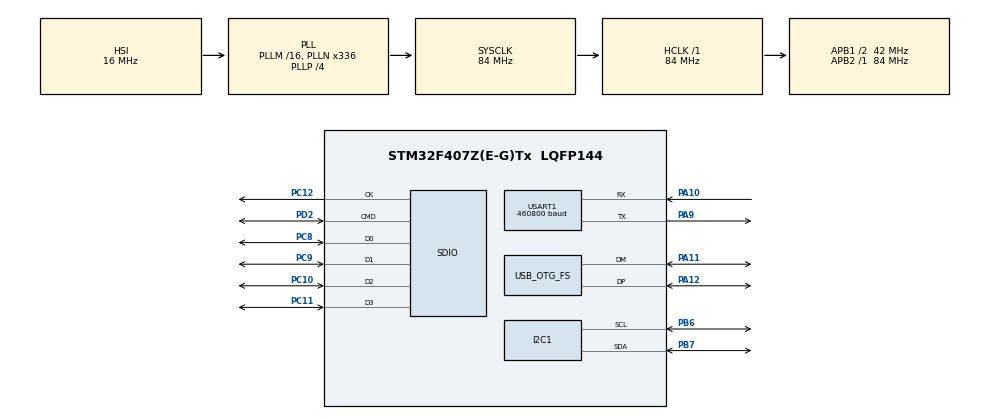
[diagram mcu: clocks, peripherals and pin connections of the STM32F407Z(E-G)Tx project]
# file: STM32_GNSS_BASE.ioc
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Dma.Request0=USART1_RX
Dma.Request1=SDIO_RX
Dma.Request2=SDIO_TX
Dma.SDIO_RX.1.Direction=DMA_PERIPH_TO_MEMORY
Dma.SDIO_RX.1.FIFOMode=DMA_FIFOMODE_ENABLE
Dma.SDIO_RX.1.FIFOThreshold=DMA_FIFO_THRESHOLD_FULL
Dma.SDIO_RX.1.Instance=DMA2_Stream3
Dma.SDIO_RX.1.MemBurst=DMA_MBURST_INC4
Dma.SDIO_RX.1.MemDataAlignment=DMA_MDATAALIGN_WORD
Dma.SDIO_RX.1.MemInc=DMA_MINC_ENABLE
Dma.SDIO_RX.1.Mode=DMA_PFCTRL
Dma.SDIO_RX.1.PeriphBurst=DMA_PBURST_INC4
Dma.SDIO_RX.1.PeriphDataAlignment=DMA_PDATAALIGN_WORD
Dma.SDIO_RX.1.PeriphInc=DMA_PINC_DISABLE
Dma.SDIO_RX.1.Priority=DMA_PRIORITY_MEDIUM
Dma.SDIO_TX.2.Direction=DMA_MEMORY_TO_PERIPH
Dma.SDIO_TX.2.FIFOMode=DMA_FIFOMODE_ENABLE
Dma.SDIO_TX.2.FIFOThreshold=DMA_FIFO_THRESHOLD_FULL
Dma.SDIO_TX.2.Instance=DMA2_Stream6
Dma.SDIO_TX.2.MemBurst=DMA_MBURST_INC4
Dma.SDIO_TX.2.MemDataAlignment=DMA_MDATAALIGN_WORD
Dma.SDIO_TX.2.MemInc=DMA_MINC_ENABLE
Dma.SDIO_TX.2.Mode=DMA_PFCTRL
Dma.SDIO_TX.2.PeriphBurst=DMA_PBURST_INC4
Dma.SDIO_TX.2.PeriphDataAlignment=DMA_PDATAALIGN_WORD
Dma.SDIO_TX.2.PeriphInc=DMA_PINC_DISABLE
Dma.SDIO_TX.2.Priority=DMA_PRIORITY_MEDIUM
Dma.USART1_RX.0.Direction=DMA_PERIPH_TO_MEMORY
Dma.USART1_RX.0.FIFOMode=DMA_FIFOMODE_DISABLE
Dma.USART1_RX.0.Instance=DMA2_Stream2
Dma.USART1_RX.0.MemDataAlignment=DMA_MDATAALIGN_BYTE
Dma.USART1_RX.0.MemInc=DMA_MINC_ENABLE
Dma.USART1_RX.0.Mode=DMA_CIRCULAR
Dma.USART1_RX.0.PeriphDataAlignment=DMA_PDATAALIGN_BYTE
Dma.USART1_RX.0.PeriphInc=DMA_PINC_DISABLE
Dma.USART1_RX.0.Priority=DMA_PRIORITY_VERY_HIGH
FATFS._FS_NORTC=1
Mcu.Family=STM32F4
Mcu.Name=STM32F407Z(E-G)Tx
Mcu.Package=LQFP144
NVIC.DMA2_Stream2_IRQn=true\:0\:0\:false\:false\:true\:false\:true\:true
NVIC.DMA2_Stream3_IRQn=true\:0\:0\:false\:false\:true\:false\:true\:true
NVIC.DMA2_Stream6_IRQn=true\:0\:0\:false\:false\:true\:false\:true\:true
NVIC.OTG_FS_IRQn=true\:0\:0\:false\:false\:true\:false\:true\:true
NVIC.PriorityGroup=NVIC_PRIORITYGROUP_4
NVIC.SDIO_IRQn=true\:0\:0\:false\:false\:true\:true\:true\:true
NVIC.USART1_IRQn=true\:0\:0\:false\:false\:true\:true\:true\:true
PA10.Mode=Asynchronous
PA10.Signal=USART1_RX
PA11.Mode=Device_Only
PA11.Signal=USB_OTG_FS_DM
PA12.Mode=Device_Only
PA12.Signal=USB_OTG_FS_DP
PA9.Mode=Asynchronous
PA9.Signal=USART1_TX
PB6.GPIO_Pu=GPIO_PULLUP
PB6.GPIO_Speed=GPIO_SPEED_FREQ_MEDIUM
PB6.Mode=I2C
PB6.Signal=I2C1_SCL
PB7.GPIO_Pu=GPIO_PULLUP
PB7.GPIO_Speed=GPIO_SPEED_FREQ_MEDIUM
PB7.Mode=I2C
PB7.Signal=I2C1_SDA
PC10.GPIO_PuPd=GPIO_PULLUP
PC10.GPIO_Speed_High_Default=GPIO_SPEED_FREQ_HIGH
PC10.Mode=SD_4_bits_Wide_bus
PC10.Signal=SDIO_D2
PC11.GPIO_PuPd=GPIO_PULLUP
PC11.GPIO_Speed_High_Default=GPIO_SPEED_FREQ_HIGH
PC11.Mode=SD_4_bits_Wide_bus
PC11.Signal=SDIO_D3
PC12.GPIO_Speed_High_Default=GPIO_SPEED_FREQ_HIGH
PC12.Mode=SD_4_bits_Wide_bus
PC12.Signal=SDIO_CK
PC8.GPIO_PuPd=GPIO_PULLUP
PC8.GPIO_Speed_High_Default=GPIO_SPEED_FREQ_HIGH
PC8.Mode=SD_4_bits_Wide_bus
PC8.Signal=SDIO_D0
PC9.GPIO_PuPd=GPIO_PULLUP
PC9.GPIO_Speed_High_Default=GPIO_SPEED_FREQ_HIGH
PC9.Mode=SD_4_bits_Wide_bus
PC9.Signal=SDIO_D1
PD2.GPIO_PuPd=GPIO_PULLUP
PD2.GPIO_Speed_High_Default=GPIO_SPEED_FREQ_HIGH
PD2.Mode=SD_4_bits_Wide_bus
PD2.Signal=SDIO_CMD
ProjectManager.HeapSize=0x200
ProjectManager.StackSize=0x400
ProjectManager.TargetToolchain=STM32CubeIDE
RCC.48MHZClocksFreq_Value=48000000
RCC.AHBFreq_Value=84000000
RCC.APB1CLKDivider=RCC_HCLK_DIV2
RCC.APB1Freq_Value=42000000
RCC.APB1TimFreq_Value=84000000
RCC.APB2Freq_Value=84000000
RCC.APB2TimFreq_Value=84000000
RCC.CortexFreq_Value=84000000
RCC.HCLKFreq_Value=84000000
RCC.HSE_VALUE=25000000
RCC.HSI_VALUE=16000000
RCC.LSE_VALUE=32768
RCC.PLLN=336
RCC.PLLP=RCC_PLLP_DIV4
RCC.PLLQ=7
RCC.PLLSourceVirtualString=RCC_PLLSOURCE_HSI
RCC.SYSCLKFreq_VALUE=84000000
RCC.SYSCLKSource=RCC_SYSCLKSOURCE_PLLCLK
RCC.VCOOutputFreq_Value=336000000
SDIO.ClockDiv=16
USART1.BaudRate=460800
USART1.VirtualMode=VM_ASYNC
USB_DEVICE.CLASS_NAME_FS=MSC
USB_DEVICE.VirtualMode-MSC_FS=Msc
USB_DEVICE.VirtualModeFS=Msc_FS
USB_OTG_FS.VirtualMode=Device_Only
VP_FATFS_VS_Generic.Mode=User_defined
VP_FATFS_VS_SDIO.Mode=SDIO
VP_USB_DEVICE_VS_USB_DEVICE_MSC_FS.Mode=MSC_FS
board=custom

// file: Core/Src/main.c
/* USER CODE BEGIN Header */
/**
  ******************************************************************************
  * @file           : main.c
  * @brief          : Main program body
  ******************************************************************************
  * @attention
  *
  * Copyright (c) 2026 STMicroelectronics.
  * All rights reserved.
  *
  * This software is licensed under terms that can be found in the LICENSE file
  * in the root directory of this software component.
  * If no LICENSE file comes with this software, it is provided AS-IS.
  *
  ******************************************************************************
  */
/* USER CODE END Header */
#include "main.h"
#include "fatfs.h"
#include "usb_device.h"
#include "i2c.h"
#include "sdio.h"
#include "ssd1306.h"
#include "usart.h"
#include "sd_diskio.h"
#include "ffconf.h"
#include "usbd_storage_if.h"

#include "stdio.h"
#include "string.h"
#include "stdlib.h"

extern USBD_HandleTypeDef hUsbDeviceFS;

////////* raw GNSS stream *///////////////

#define UBX_BUF_SIZE 65535
#define OLED_ROWS 8
#define OLED_CHARS_PER_ROW 21
/*
 * Portable base safety option.
 *
 * When enabled, STM32 sends UBX-CFG-RST to the F9P at boot to clear retained
 * navigation state and force a fresh GNSS start. This helps prevent a movable
 * base from silently reusing stale survey/base state after being moved.
 *
 * Wiring required:
 *   STM32 PA9  / USART1 TX  --->  F9P UART1 RX
 *   STM32 PA10 / USART1 RX  <---  F9P UART1 TX
 *
 * The command does not erase the F9P flash configuration, but it does clear
 * retained navigation/orbit/time state. Survey-in will take longer after boot.
 */
#define F9P_COLD_START_ON_BOOT 0
uint8_t ubx_buf[UBX_BUF_SIZE];
volatile uint32_t overflow_counter = 0;
volatile uint32_t uart_dma_wrap_count = 0;
uint32_t log_bytes_written = 0;
uint32_t old_pos = 0;
uint32_t log_start_tick = 0;
uint8_t gnss_sat_count = 0;
uint8_t gnss_fix_type = 0;
uint8_t gnss_diff_solution = 0;
uint8_t gnss_time_valid = 0;
uint16_t gnss_year = 2015;
uint8_t gnss_month = 6;
uint8_t gnss_day = 4;
uint8_t gnss_hour = 0;
uint8_t gnss_min = 0;
uint8_t gnss_sec = 0;
uint32_t gnss_last_packet_tick = 0;
uint8_t gnss_svin_seen = 0;
uint8_t gnss_svin_active = 0;
uint8_t gnss_svin_valid = 0;
uint32_t gnss_svin_duration = 0;
uint32_t gnss_svin_mean_acc = 0;
static char oled_boot_lines[OLED_ROWS][OLED_CHARS_PER_ROW + 1];
static uint8_t f9p_tmode_fail_stage = 0;

typedef enum
{
  BASE_CFG_RESULT_OK = 0,
  BASE_CFG_RESULT_NOT_FOUND,
  BASE_CFG_RESULT_INVALID,
  BASE_CFG_RESULT_APPLY_FAIL
} BaseConfigResult;

typedef enum
{
  BASE_MODE_NONE = 0,
  BASE_MODE_SURVEY_IN,
  BASE_MODE_FIXED
} BaseMode;

static BaseMode active_base_mode = BASE_MODE_NONE;

typedef struct
{
  BaseMode mode;
  uint32_t svin_min_dur_s;
  uint32_t svin_acc_limit_01mm;
  int32_t fixed_lat_1e7;
  int32_t fixed_lon_1e7;
  int32_t mark_elev_cm;
  int32_t antenna_height_cm;
  int32_t fixed_height_cm;
  uint32_t fixed_acc_01mm;
  uint8_t has_lat;
  uint8_t has_lon;
  uint8_t has_mark_elev;
  uint8_t has_antenna_height;
} BaseConfig;

/////////////*  *////////////////////

void SystemClock_Config(void);
static void MX_GPIO_Init(void);
static void MX_DMA_Init(void);

/* USER CODE BEGIN PFP */
static void GNSS_ParseBytes(const uint8_t *data, uint32_t len);
/* USER CODE END PFP */

/* USER CODE BEGIN 0 */
static uint32_t GNSS_DMA_GetWriteAbs(void)
{
  uint32_t wraps_a;
  uint32_t wraps_b;
  uint32_t pos;

  do
  {
    wraps_a = uart_dma_wrap_count;
    pos = UBX_BUF_SIZE - __HAL_DMA_GET_COUNTER(huart1.hdmarx);
    wraps_b = uart_dma_wrap_count;
  } while (wraps_a != wraps_b);

  if (pos >= UBX_BUF_SIZE)
  {
    pos = 0;
  }

  return (wraps_a * UBX_BUF_SIZE) + pos;
}

static HAL_StatusTypeDef SD_SetTransferClock(uint32_t clock_div)
{
  hsd.Init.ClockDiv = clock_div;
  return HAL_SD_ConfigWideBusOperation(&hsd, SDIO_BUS_WIDE_4B);
}

static FRESULT GNSS_FlushToLog(FIL *file, uint32_t write_abs)
{
  UINT bytes_written;
  uint32_t available = write_abs - old_pos;

  if (available > UBX_BUF_SIZE)
  {
    overflow_counter++;
    old_pos = write_abs;
    return FR_OK;
  }

  while (available > 0)
  {
    uint32_t read_pos = old_pos % UBX_BUF_SIZE;
    uint32_t chunk = UBX_BUF_SIZE - read_pos;

    if (chunk > available)
    {
      chunk = available;
    }

    GNSS_ParseBytes(&ubx_buf[read_pos], chunk);
    FRESULT result = f_write(file, &ubx_buf[read_pos], (UINT)chunk,
                             &bytes_written);
    if ((result != FR_OK) || (bytes_written != chunk))
    {
      return (result == FR_OK) ? FR_DISK_ERR : result;
    }

    old_pos += bytes_written;
    log_bytes_written += bytes_written;
    available = write_abs - old_pos;
  }

  return FR_OK;
}

static HAL_StatusTypeDef F9P_ColdStart(void)
{
#if F9P_COLD_START_ON_BOOT
  static const uint8_t cfg_rst_cold_start[] =
  {
      0xB5, 0x62,             /* UBX sync */
      0x06, 0x04,             /* CFG-RST */
      0x04, 0x00,             /* payload length */
      0xFF, 0xFF,             /* clear all nav BBR data */
      0x02,                   /* controlled GNSS-only reset */
      0x00,                   /* reserved */
      0x0E, 0x61              /* checksum */
  };

  return HAL_UART_Transmit(&huart1,
                           (uint8_t *)cfg_rst_cold_start,
                           sizeof(cfg_rst_cold_start),
                           100);
#else
  return HAL_OK;
#endif
}

static void PutU2(uint8_t *dst, uint16_t value)
{
  dst[0] = (uint8_t)(value & 0xFF);
  dst[1] = (uint8_t)((value >> 8) & 0xFF);
}

static void PutU4(uint8_t *dst, uint32_t value)
{
  dst[0] = (uint8_t)(value & 0xFF);
  dst[1] = (uint8_t)((value >> 8) & 0xFF);
  dst[2] = (uint8_t)((value >> 16) & 0xFF);
  dst[3] = (uint8_t)((value >> 24) & 0xFF);
}

static void ValsetPutKeyU1(uint8_t *payload, uint16_t *index, uint32_t key, uint8_t value)
{
  PutU4(&payload[*index], key);
  *index += 4;
  payload[*index] = value;
  *index += 1;
}

static void ValsetPutKeyU4(uint8_t *payload, uint16_t *index, uint32_t key, uint32_t value)
{
  PutU4(&payload[*index], key);
  *index += 4;
  PutU4(&payload[*index], value);
  *index += 4;
}

static void ValsetPutKeyI4(uint8_t *payload, uint16_t *index, uint32_t key, int32_t value)
{
  PutU4(&payload[*index], key);
  *index += 4;
  PutU4(&payload[*index], (uint32_t)value);
  *index += 4;
}

static void F9P_ClearRx(void)
{
  uint8_t dummy;

  __HAL_UART_CLEAR_OREFLAG(&huart1);
  __HAL_UART_CLEAR_FEFLAG(&huart1);
  __HAL_UART_CLEAR_NEFLAG(&huart1);

  while (__HAL_UART_GET_FLAG(&huart1, UART_FLAG_RXNE) != RESET)
  {
    dummy = (uint8_t)(huart1.Instance->DR & 0xFF);
    (void)dummy;
  }

  __HAL_UART_CLEAR_OREFLAG(&huart1);
  __HAL_UART_CLEAR_FEFLAG(&huart1);
  __HAL_UART_CLEAR_NEFLAG(&huart1);
}

static HAL_StatusTypeDef F9P_SendUbx(uint8_t msg_class,
                                     uint8_t msg_id,
                                     const uint8_t *payload,
                                     uint16_t payload_len)
{
  uint8_t frame[128];
  uint8_t ck_a = 0;
  uint8_t ck_b = 0;
  uint16_t frame_len = payload_len + 8;

  if (payload_len > 120)
  {
    return HAL_ERROR;
  }

  frame[0] = 0xB5;
  frame[1] = 0x62;
  frame[2] = msg_class;
  frame[3] = msg_id;
  frame[4] = (uint8_t)(payload_len & 0xFF);
  frame[5] = (uint8_t)((payload_len >> 8) & 0xFF);

  for (uint16_t i = 0; i < payload_len; i++)
  {
    frame[6 + i] = payload[i];
  }

  for (uint16_t i = 2; i < (uint16_t)(6 + payload_len); i++)
  {
    ck_a = (uint8_t)(ck_a + frame[i]);
    ck_b = (uint8_t)(ck_b + ck_a);
  }

  frame[6 + payload_len] = ck_a;
  frame[7 + payload_len] = ck_b;

  F9P_ClearRx();
  return HAL_UART_Transmit(&huart1, frame, frame_len, 250);
}

static int8_t F9P_WaitAck(uint8_t ack_class, uint8_t ack_id, uint32_t timeout_ms)
{
  uint8_t byte;
  uint8_t state = 0;
  uint8_t msg_class = 0;
  uint8_t msg_id = 0;
  uint16_t payload_len = 0;
  uint16_t payload_index = 0;
  uint8_t payload[2] = {0, 0};
  uint8_t ck_a = 0;
  uint8_t ck_b = 0;
  uint32_t start = HAL_GetTick();

  while ((HAL_GetTick() - start) < timeout_ms)
  {
    if (HAL_UART_Receive(&huart1, &byte, 1, 20) != HAL_OK)
    {
      F9P_ClearRx();
      state = 0;
      continue;
    }

    switch (state)
    {
      case 0:
        state = (byte == 0xB5) ? 1 : 0;
        break;

      case 1:
        state = (byte == 0x62) ? 2 : 0;
        break;

      case 2:
        msg_class = byte;
        ck_a = byte;
        ck_b = ck_a;
        state = 3;
        break;

      case 3:
        msg_id = byte;
        ck_a = (uint8_t)(ck_a + byte);
        ck_b = (uint8_t)(ck_b + ck_a);
        state = 4;
        break;

      case 4:
        payload_len = byte;
        ck_a = (uint8_t)(ck_a + byte);
        ck_b = (uint8_t)(ck_b + ck_a);
        state = 5;
        break;

      case 5:
        payload_len |= ((uint16_t)byte << 8);
        payload_index = 0;
        payload[0] = 0;
        payload[1] = 0;
        ck_a = (uint8_t)(ck_a + byte);
        ck_b = (uint8_t)(ck_b + ck_a);
        state = (payload_len == 0) ? 7 : 6;
        break;

      case 6:
        if (payload_index < 2)
        {
          payload[payload_index] = byte;
        }
        ck_a = (uint8_t)(ck_a + byte);
        ck_b = (uint8_t)(ck_b + ck_a);
        payload_index++;
        if (payload_index >= payload_len)
        {
          state = 7;
        }
        break;

      case 7:
        state = (byte == ck_a) ? 8 : 0;
        break;

      case 8:
        if ((byte == ck_b) &&
            (msg_class == 0x05) &&
            ((msg_id == 0x01) || (msg_id == 0x00)) &&
            (payload_len == 2) &&
            (payload[0] == ack_class) &&
            (payload[1] == ack_id))
        {
          return (msg_id == 0x01) ? 1 : -1;
        }
        state = 0;
        break;

      default:
        state = 0;
        break;
    }
  }

  return 0;
}

static HAL_StatusTypeDef F9P_SendUbxWaitAck(uint8_t msg_class,
                                            uint8_t msg_id,
                                            const uint8_t *payload,
                                            uint16_t payload_len)
{
  for (uint8_t attempt = 0; attempt < 3; attempt++)
  {
    if (F9P_SendUbx(msg_class, msg_id, payload, payload_len) == HAL_OK)
    {
      if (F9P_WaitAck(msg_class, msg_id, 2500) == 1)
      {
        return HAL_OK;
      }
    }
    HAL_Delay(300);
  }

  return HAL_ERROR;
}

static char *Trim(char *text)
{
  char *end;

  while ((*text == ' ') || (*text == '\t') || (*text == '\r') || (*text == '\n'))
  {
    text++;
  }

  end = text + strlen(text);
  while ((end > text) &&
         ((end[-1] == ' ') || (end[-1] == '\t') ||
          (end[-1] == '\r') || (end[-1] == '\n')))
  {
    end--;
  }
  *end = '\0';

  return text;
}

static char UpperAscii(char c)
{
  if ((c >= 'a') && (c <= 'z'))
  {
    return (char)(c - ('a' - 'A'));
  }

  return c;
}

static uint8_t StrEqIgnoreCase(const char *a, const char *b)
{
  while (*a && *b)
  {
    if (UpperAscii(*a) != UpperAscii(*b))
    {
      return 0;
    }
    a++;
    b++;
  }

  return (*a == '\0') && (*b == '\0');
}

static uint8_t ParseScaled(const char *text, int64_t scale, int64_t *out)
{
  int sign = 1;
  int64_t whole = 0;
  int64_t frac = 0;
  int64_t frac_scale = 1;
  uint8_t saw_digit = 0;
  const char *p = text;

  if (*p == '-')
  {
    sign = -1;
    p++;
  }
  else if (*p == '+')
  {
    p++;
  }

  while ((*p >= '0') && (*p <= '9'))
  {
    saw_digit = 1;
    whole = (whole * 10) + (*p - '0');
    p++;
  }

  if (*p == '.')
  {
    p++;
    while ((*p >= '0') && (*p <= '9') && (frac_scale < 1000000000LL))
    {
      saw_digit = 1;
      frac = (frac * 10) + (*p - '0');
      frac_scale *= 10;
      p++;
    }
  }

  if (!saw_digit)
  {
    return 0;
  }

  while ((*p == ' ') || (*p == '\t') || (*p == '\r') || (*p == '\n'))
  {
    p++;
  }

  if (*p != '\0')
  {
    return 0;
  }

  *out = sign * ((whole * scale) + ((frac * scale + (frac_scale / 2)) / frac_scale));
  return 1;
}

static uint8_t ParseU32Value(const char *text, uint32_t *out)
{
  char *end = NULL;
  unsigned long value = strtoul(text, &end, 10);

  while (end && ((*end == ' ') || (*end == '\t') || (*end == '\r') || (*end == '\n')))
  {
    end++;
  }

  if ((end == text) || (end == NULL) || (*end != '\0'))
  {
    return 0;
  }

  *out = (uint32_t)value;
  return 1;
}

static void BaseConfig_Defaults(BaseConfig *cfg)
{
  memset(cfg, 0, sizeof(*cfg));
  cfg->mode = BASE_MODE_NONE;
  cfg->svin_min_dur_s = 600;
  cfg->svin_acc_limit_01mm = 7000;
  cfg->fixed_acc_01mm = 200;
}

static uint8_t BaseConfig_ParseLine(BaseConfig *cfg, char *line)
{
  char *comment = strchr(line, '#');
  char *equals;
  char *key;
  char *value;
  int64_t scaled;
  uint32_t seconds;

  if (comment != NULL)
  {
    *comment = '\0';
  }

  equals = strchr(line, '=');
  if (equals == NULL)
  {
    return (Trim(line)[0] == '\0') ? 1 : 0;
  }

  *equals = '\0';
  key = Trim(line);
  value = Trim(equals + 1);

  if (StrEqIgnoreCase(key, "MODE"))
  {
    if (StrEqIgnoreCase(value, "SURVEY") ||
        StrEqIgnoreCase(value, "SURVEY_IN") ||
        StrEqIgnoreCase(value, "SURVEY-IN"))
    {
      cfg->mode = BASE_MODE_SURVEY_IN;
      return 1;
    }

    if (StrEqIgnoreCase(value, "FIXED"))
    {
      cfg->mode = BASE_MODE_FIXED;
      return 1;
    }

    return 0;
  }

  if (StrEqIgnoreCase(key, "SVIN_MIN_DUR_S") ||
      StrEqIgnoreCase(key, "SURVEY_TIME_S") ||
      StrEqIgnoreCase(key, "TIME_S"))
  {
    if (!ParseU32Value(value, &seconds) || (seconds < 60) || (seconds > 86400))
    {
      return 0;
    }
    cfg->svin_min_dur_s = seconds;
    return 1;
  }

  if (StrEqIgnoreCase(key, "SVIN_ACC_M") ||
      StrEqIgnoreCase(key, "SURVEY_ACC_M") ||
      StrEqIgnoreCase(key, "ACC_M"))
  {
    if (!ParseScaled(value, 10000, &scaled) || (scaled < 100) || (scaled > 1000000))
    {
      return 0;
    }
    cfg->svin_acc_limit_01mm = (uint32_t)scaled;
    return 1;
  }

  if (StrEqIgnoreCase(key, "LAT") || StrEqIgnoreCase(key, "LAT_DEG"))
  {
    if (!ParseScaled(value, 10000000, &scaled) || (scaled < -900000000LL) || (scaled > 900000000LL))
    {
      return 0;
    }
    cfg->fixed_lat_1e7 = (int32_t)scaled;
    cfg->has_lat = 1;
    return 1;
  }

  if (StrEqIgnoreCase(key, "LON") || StrEqIgnoreCase(key, "LON_DEG"))
  {
    if (!ParseScaled(value, 10000000, &scaled) || (scaled < -1800000000LL) || (scaled > 1800000000LL))
    {
      return 0;
    }
    cfg->fixed_lon_1e7 = (int32_t)scaled;
    cfg->has_lon = 1;
    return 1;
  }

  if (StrEqIgnoreCase(key, "MARK_ELEV_M") || StrEqIgnoreCase(key, "MARK_ELEV"))
  {
    if (!ParseScaled(value, 100, &scaled) || (scaled < -1000000) || (scaled > 1000000))
    {
      return 0;
    }
    cfg->mark_elev_cm = (int32_t)scaled;
    cfg->has_mark_elev = 1;
    return 1;
  }

  if (StrEqIgnoreCase(key, "ANTENNA_HEIGHT_M") || StrEqIgnoreCase(key, "ANTENNA_HEIGHT"))
  {
    if (!ParseScaled(value, 100, &scaled) || (scaled < 0) || (scaled > 100000))
    {
      return 0;
    }
    cfg->antenna_height_cm = (int32_t)scaled;
    cfg->has_antenna_height = 1;
    return 1;
  }

  if (StrEqIgnoreCase(key, "FIXED_ACC_M"))
  {
    if (!ParseScaled(value, 10000, &scaled) || (scaled < 1) || (scaled > 1000000))
    {
      return 0;
    }
    cfg->fixed_acc_01mm = (uint32_t)scaled;
    return 1;
  }

  return 1;
}

static BaseConfigResult BaseConfig_Read(BaseConfig *cfg)
{
  FIL file;
  FRESULT res;
  char line[96];

  BaseConfig_Defaults(cfg);

  res = f_open(&file, "BASE.TXT", FA_READ);
  if (res == FR_NO_FILE)
  {
    return BASE_CFG_RESULT_NOT_FOUND;
  }

  if (res != FR_OK)
  {
    return BASE_CFG_RESULT_INVALID;
  }

  while (f_gets(line, sizeof(line), &file) != NULL)
  {
    if (!BaseConfig_ParseLine(cfg, line))
    {
      f_close(&file);
      return BASE_CFG_RESULT_INVALID;
    }
  }

  f_close(&file);

  if (cfg->mode == BASE_MODE_NONE)
  {
    return BASE_CFG_RESULT_INVALID;
  }

  if ((cfg->mode == BASE_MODE_FIXED) &&
      (!cfg->has_lat || !cfg->has_lon ||
       !cfg->has_mark_elev || !cfg->has_antenna_height))
  {
    return BASE_CFG_RESULT_INVALID;
  }

  if (cfg->mode == BASE_MODE_FIXED)
  {
    cfg->fixed_height_cm = cfg->mark_elev_cm + cfg->antenna_height_cm;
  }

  return BASE_CFG_RESULT_OK;
}

static HAL_StatusTypeDef F9P_SetTmode3(const BaseConfig *cfg)
{
  uint8_t payload[96];
  uint16_t index = 0;

  f9p_tmode_fail_stage = 0;

  memset(payload, 0, sizeof(payload));
  payload[0] = 0;      /* VALSET version */
  payload[1] = 0x01;   /* apply to RAM */
  payload[2] = 0;
  payload[3] = 0;
  index = 4;

  /* First disable TMODE. */
  ValsetPutKeyU1(payload, &index, 0x20030001UL, 0); /* CFG-TMODE-MODE = disabled */
  if (F9P_SendUbxWaitAck(0x06, 0x8A, payload, index) != HAL_OK)
  {
    f9p_tmode_fail_stage = 1;
    return HAL_ERROR;
  }

  memset(payload, 0, sizeof(payload));
  payload[0] = 0;
  payload[1] = 0x01;   /* RAM */
  payload[2] = 0;
  payload[3] = 0;
  index = 4;

  if (cfg->mode == BASE_MODE_SURVEY_IN)
  {
    ValsetPutKeyU1(payload, &index, 0x20030001UL, 1);                  /* MODE survey-in */
    ValsetPutKeyU4(payload, &index, 0x40030010UL, cfg->svin_min_dur_s);
    ValsetPutKeyU4(payload, &index, 0x40030011UL, cfg->svin_acc_limit_01mm);
  }
  else if (cfg->mode == BASE_MODE_FIXED)
  {
    ValsetPutKeyU1(payload, &index, 0x20030001UL, 2);                  /* MODE fixed */
    ValsetPutKeyU1(payload, &index, 0x20030002UL, 1);                  /* POS_TYPE LLH */
    ValsetPutKeyI4(payload, &index, 0x40030009UL, cfg->fixed_lat_1e7);  /* CFG-TMODE-LAT */
    ValsetPutKeyI4(payload, &index, 0x4003000AUL, cfg->fixed_lon_1e7);  /* CFG-TMODE-LON */
    ValsetPutKeyI4(payload, &index, 0x4003000BUL, cfg->fixed_height_cm); /* CFG-TMODE-HEIGHT */
    ValsetPutKeyU4(payload, &index, 0x4003000FUL, cfg->fixed_acc_01mm);  /* CFG-TMODE-FIXED_POS_ACC */
  }
  else
  {
    return HAL_ERROR;
  }

  if (F9P_SendUbxWaitAck(0x06, 0x8A, payload, index) != HAL_OK)
  {
    f9p_tmode_fail_stage = 2;
    return HAL_ERROR;
  }

  f9p_tmode_fail_stage = 0;
  return HAL_OK;
}

static BaseConfigResult BaseConfig_LoadAndApply(char *status, size_t status_size)
{
  BaseConfig cfg;
  BaseConfigResult result = BaseConfig_Read(&cfg);

  if (result == BASE_CFG_RESULT_NOT_FOUND)
  {
    snprintf(status, status_size, "BASE.TXT NONE");
    return result;
  }

  if (result != BASE_CFG_RESULT_OK)
  {
    snprintf(status, status_size, "BASE.TXT ERR");
    return result;
  }

  if (F9P_SetTmode3(&cfg) != HAL_OK)
  {
    if (f9p_tmode_fail_stage == 1)
    {
      snprintf(status, status_size, "TMODE OFF FAIL");
    }
    else if (f9p_tmode_fail_stage == 2)
    {
      snprintf(status, status_size, "TMODE SET FAIL");
    }
    else
    {
      snprintf(status, status_size, "TMODE3 FAIL");
    }
    return BASE_CFG_RESULT_APPLY_FAIL;
  }

  active_base_mode = cfg.mode;

  if (cfg.mode == BASE_MODE_SURVEY_IN)
  {
    snprintf(status, status_size, "VALSET SURV %lus", cfg.svin_min_dur_s);
  }
  else
  {
    snprintf(status, status_size, "VALSET FIXED SENT");
  }

  return BASE_CFG_RESULT_OK;
}

static FRESULT GNSS_OpenNextLogFile(FIL *file, char *name, UINT name_size)
{
  FILINFO info;
  FRESULT res;

  for (uint16_t index = 1; index <= 999; index++)
  {
    snprintf(name, name_size, "GNSS%03u.UBX", index);

    res = f_stat(name, &info);
    if (res == FR_NO_FILE)
    {
      return f_open(file, name, FA_CREATE_NEW | FA_WRITE);
    }

    if (res != FR_OK)
    {
      return res;
    }
  }

  return FR_DENIED;
}

static void GNSS_ParseByte(uint8_t byte)
{
  static uint8_t state = 0;
  static uint8_t msg_class = 0;
  static uint8_t msg_id = 0;
  static uint16_t payload_len = 0;
  static uint16_t payload_index = 0;
  static uint8_t ck_a = 0;
  static uint8_t ck_b = 0;
  static uint8_t nav_pvt_valid = 0;
  static uint16_t nav_pvt_year = 2015;
  static uint8_t nav_pvt_month = 6;
  static uint8_t nav_pvt_day = 4;
  static uint8_t nav_pvt_hour = 0;
  static uint8_t nav_pvt_min = 0;
  static uint8_t nav_pvt_sec = 0;
  static uint8_t nav_pvt_fix_type = 0;
  static uint8_t nav_pvt_diff_solution = 0;
  static uint8_t nav_pvt_num_sv = 0;
  static uint8_t nav_svin_active = 0;
  static uint8_t nav_svin_valid = 0;
  static uint32_t nav_svin_duration = 0;
  static uint32_t nav_svin_mean_acc = 0;

  switch (state)
  {
    case 0:
      state = (byte == 0xB5) ? 1 : 0;
      break;

    case 1:
      state = (byte == 0x62) ? 2 : 0;
      break;

    case 2:
      msg_class = byte;
      ck_a = byte;
      ck_b = ck_a;
      state = 3;
      break;

    case 3:
      msg_id = byte;
      ck_a = (ck_a + byte) & 0xFF;
      ck_b = (ck_b + ck_a) & 0xFF;
      state = 4;
      break;

    case 4:
      payload_len = byte;
      ck_a = (ck_a + byte) & 0xFF;
      ck_b = (ck_b + ck_a) & 0xFF;
      state = 5;
      break;

    case 5:
      payload_len |= ((uint16_t)byte << 8);
      payload_index = 0;
      nav_pvt_valid = 0;
      nav_pvt_year = 2015;
      nav_pvt_month = 6;
      nav_pvt_day = 4;
      nav_pvt_hour = 0;
      nav_pvt_min = 0;
      nav_pvt_sec = 0;
      nav_pvt_fix_type = 0;
      nav_pvt_diff_solution = 0;
      nav_pvt_num_sv = 0;
      nav_svin_active = 0;
      nav_svin_valid = 0;
      nav_svin_duration = 0;
      nav_svin_mean_acc = 0;
      ck_a = (ck_a + byte) & 0xFF;
      ck_b = (ck_b + ck_a) & 0xFF;
      state = (payload_len == 0) ? 7 : 6;
      break;

    case 6:
      if ((msg_class == 0x01) && (msg_id == 0x07) && (payload_index == 4))
      {
        nav_pvt_year = byte;
      }

      if ((msg_class == 0x01) && (msg_id == 0x07) && (payload_index == 5))
      {
        nav_pvt_year |= ((uint16_t)byte << 8);
      }

      if ((msg_class == 0x01) && (msg_id == 0x07) && (payload_index == 6))
      {
        nav_pvt_month = byte;
      }

      if ((msg_class == 0x01) && (msg_id == 0x07) && (payload_index == 7))
      {
        nav_pvt_day = byte;
      }

      if ((msg_class == 0x01) && (msg_id == 0x07) && (payload_index == 8))
      {
        nav_pvt_hour = byte;
      }

      if ((msg_class == 0x01) && (msg_id == 0x07) && (payload_index == 9))
      {
        nav_pvt_min = byte;
      }

      if ((msg_class == 0x01) && (msg_id == 0x07) && (payload_index == 10))
      {
        nav_pvt_sec = byte;
      }

      if ((msg_class == 0x01) && (msg_id == 0x07) && (payload_index == 11))
      {
        nav_pvt_valid = byte;
      }

      if ((msg_class == 0x01) && (msg_id == 0x07) && (payload_index == 20))
      {
        nav_pvt_fix_type = byte;
      }

      if ((msg_class == 0x01) && (msg_id == 0x07) && (payload_index == 21))
      {
        nav_pvt_diff_solution = (byte & 0x02) ? 1 : 0;
      }

      if ((msg_class == 0x01) && (msg_id == 0x07) && (payload_index == 23))
      {
        nav_pvt_num_sv = byte;
      }

      if ((msg_class == 0x01) && (msg_id == 0x3B) &&
          (payload_index >= 8) && (payload_index <= 11))
      {
        nav_svin_duration |= ((uint32_t)byte << (8U * (payload_index - 8)));
      }

      if ((msg_class == 0x01) && (msg_id == 0x3B) &&
          (payload_index >= 28) && (payload_index <= 31))
      {
        nav_svin_mean_acc |= ((uint32_t)byte << (8U * (payload_index - 28)));
      }

      if ((msg_class == 0x01) && (msg_id == 0x3B) && (payload_index == 36))
      {
        nav_svin_valid = byte ? 1 : 0;
      }

      if ((msg_class == 0x01) && (msg_id == 0x3B) && (payload_index == 37))
      {
        nav_svin_active = byte ? 1 : 0;
      }

      ck_a = (ck_a + byte) & 0xFF;
      ck_b = (ck_b + ck_a) & 0xFF;
      payload_index++;

      if (payload_index >= payload_len)
      {
        state = 7;
      }
      break;

    case 7:
      state = (byte == ck_a) ? 8 : 0;
      break;

    case 8:
      if (byte == ck_b)
      {
        if ((msg_class == 0x01) && (msg_id == 0x07) && (payload_len >= 24))
        {
          gnss_time_valid = ((nav_pvt_valid & 0x03) == 0x03) ? 1 : 0;
          gnss_year = nav_pvt_year;
          gnss_month = nav_pvt_month;
          gnss_day = nav_pvt_day;
          gnss_hour = nav_pvt_hour;
          gnss_min = nav_pvt_min;
          gnss_sec = nav_pvt_sec;
          gnss_fix_type = nav_pvt_fix_type;
          gnss_diff_solution = nav_pvt_diff_solution;
          gnss_sat_count = nav_pvt_num_sv;
          gnss_last_packet_tick = HAL_GetTick();
        }

        if ((msg_class == 0x01) && (msg_id == 0x3B) && (payload_len >= 38))
        {
          gnss_svin_seen = 1;
          gnss_svin_active = nav_svin_active;
          gnss_svin_valid = nav_svin_valid;
          gnss_svin_duration = nav_svin_duration;
          gnss_svin_mean_acc = nav_svin_mean_acc;
        }
      }
      state = 0;
      break;

    default:
      state = 0;
      break;
  }
}

static void GNSS_ParseBytes(const uint8_t *data, uint32_t len)
{
  for (uint32_t i = 0; i < len; i++)
  {
    GNSS_ParseByte(data[i]);
  }
}

static const char *GNSS_FixLabel(void)
{
  if (gnss_diff_solution)
  {
    return "DGPS";
  }

  switch (gnss_fix_type)
  {
    case 2:
      return "2D";
    case 3:
      return "3D";
    case 4:
      return "GNSS+DR";
    case 5:
      return "TIME";
    default:
      return "NOFIX";
  }
}

static uint8_t GNSS_FixIsPpkOk(void)
{
  return (gnss_diff_solution || (gnss_fix_type == 3) || (gnss_fix_type == 5));
}

static const char *GNSS_SvinLabel(void)
{
  if (active_base_mode == BASE_MODE_FIXED)
  {
    return "FIXED BASE";
  }

  if (!gnss_svin_seen)
  {
    if ((active_base_mode == BASE_MODE_SURVEY_IN) || (gnss_fix_type == 5))
    {
      return "SURVEYING IN";
    }

    return "";
  }

  if (gnss_svin_valid)
  {
    return "SURVEY IN OK";
  }

  if (gnss_svin_active)
  {
    return "SURVEYING IN";
  }

  return "SURVEYING IN";
}

DWORD get_fattime(void)
{
  uint16_t year = gnss_year;
  uint8_t month = gnss_month;
  uint8_t day = gnss_day;
  uint8_t hour = gnss_hour;
  uint8_t min = gnss_min;
  uint8_t sec = gnss_sec;

  if (!gnss_time_valid || (year < 1980) || (year > 2107) ||
      (month < 1) || (month > 12) || (day < 1) || (day > 31))
  {
    year = 2015;
    month = 6;
    day = 4;
    hour = 0;
    min = 0;
    sec = 0;
  }

  return ((DWORD)(year - 1980) << 25) |
         ((DWORD)month << 21) |
         ((DWORD)day << 16) |
         ((DWORD)hour << 11) |
         ((DWORD)min << 5) |
         ((DWORD)(sec / 2));
}

static void OLED_BootSetLine(uint8_t row, const char *text)
{
  if (row >= OLED_ROWS)
  {
    return;
  }

  snprintf(oled_boot_lines[row], sizeof(oled_boot_lines[row]), "%s", text);

  SSD1306_Clear();
  for (uint8_t i = 0; i < OLED_ROWS; i++)
  {
    if (oled_boot_lines[i][0] != '\0')
    {
      SSD1306_SetCursor(0, i);
      SSD1306_WriteString(oled_boot_lines[i]);
    }
  }
  SSD1306_UpdateScreen();
}

/* USER CODE END 0 */

int main(void)
{

  /* MCU Configuration--------------------------------------------------------*/

  /* Reset of all peripherals, Initializes the Flash interface and the Systick. */
  HAL_Init();

  /* Configure the system clock */
  SystemClock_Config();

  /* USER CODE BEGIN SysInit */

  MX_GPIO_Init();
  MX_I2C1_Init();

  /* USER CODE END SysInit */

  /* Initialize all configured peripherals */
  MX_GPIO_Init();
  MX_DMA_Init();
  MX_I2C1_Init();
  MX_USART1_UART_Init();

  /* USER CODE BEGIN 2 */
  char msg[32];

  HAL_Delay(100);
  SSD1306_Init();
  OLED_BootSetLine(0, "BOOT");
  HAL_Delay(500);

  OLED_BootSetLine(1, "UART CFG");
  HAL_Delay(500);

  /* Initialize the SD before USB enumeration. This prevents Windows from
     seeing an initial "no media" state and entering a long retry delay. */
  MX_SDIO_SD_Init();
  OLED_BootSetLine(2, "SDIO CFG");
  HAL_Delay(100);

  MX_FATFS_Init();
  OLED_BootSetLine(3, "FATFS OK");

  DSTATUS usb_disk_status = disk_initialize(0);
  uint8_t usb_clock_enabled = 0;
  if (((usb_disk_status & STA_NOINIT) == 0) &&
      (SD_SetTransferClock(8) == HAL_OK))
  {
      usb_clock_enabled = 1;
  }
  USB_Storage_SetReady((usb_disk_status & STA_NOINIT) ? 0 : 1);

  OLED_BootSetLine(1, "USB CHECK");
  MX_USB_DEVICE_Init();

  uint32_t usb_check_start = HAL_GetTick();
  while ((hUsbDeviceFS.dev_state != USBD_STATE_CONFIGURED) &&
         ((HAL_GetTick() - usb_check_start) < 2500))
  {
      HAL_Delay(10);
  }

  if (hUsbDeviceFS.dev_state == USBD_STATE_CONFIGURED)
  {
      if (usb_disk_status & STA_NOINIT)
      {
          SSD1306_Clear();
          SSD1306_WriteString("USB SD INIT FAIL");
          SSD1306_UpdateScreen();
          while (1);
      }

      SSD1306_Clear();
      SSD1306_SetCursor(0, 0);
      SSD1306_WriteString("USB STORAGE ACTIVE");
      SSD1306_SetCursor(0, 2);
      SSD1306_WriteString("SD CARD ON PC");
      SSD1306_SetCursor(0, 4);
      SSD1306_WriteString("LOGGING STOPPED");
      SSD1306_SetCursor(0, 6);
      SSD1306_WriteString("EJECT BEFORE UNPLUG");
      SSD1306_UpdateScreen();

      while (1)
      {
          uint32_t usb_blocks;
          uint32_t usb_errors;
          uint32_t usb_verify_errors;

          USB_Storage_GetWriteStats(&usb_blocks, &usb_errors,
                                    &usb_verify_errors);
          if ((usb_errors != 0U) || (usb_verify_errors != 0U))
          {
              SSD1306_SetCursor(0, 2);
              SSD1306_WriteString("USB WRITE ERROR ");
              SSD1306_SetCursor(0, 4);
              snprintf(msg, sizeof(msg), "ERR=%lu VERIFY=%lu ",
                       usb_errors, usb_verify_errors);
              SSD1306_WriteString(msg);
          }
          else
          {
              SSD1306_SetCursor(0, 2);
              SSD1306_WriteString("SD CARD ON PC   ");
              SSD1306_SetCursor(0, 4);
              SSD1306_WriteString((usb_blocks != 0U) ?
                                  "WRITES VERIFIED " :
                                  "READY FOR FILES ");
          }
          SSD1306_UpdateScreen();
          HAL_Delay(500);
      }
  }

  /* No host was present during the startup window. FatFS takes ownership and
     USB reports no medium until a later safe logging-to-USB transition. */
  USB_Storage_SetReady(0);
  if (usb_clock_enabled)
  {
      if (SD_SetTransferClock(16) != HAL_OK)
      {
          SSD1306_Clear();
          SSD1306_WriteString("SD CLOCK FAIL");
          SSD1306_UpdateScreen();
          while (1);
      }
  }

  OLED_BootSetLine(1, "UART CFG");
  if (F9P_ColdStart() == HAL_OK)
  {
      OLED_BootSetLine(1, "UART OK");
  }
  else
  {
      OLED_BootSetLine(1, "F9P RST FAIL");
  }
  HAL_Delay(5000);

  /* -------- MOUNT -------- */

  FRESULT res = f_mount(&SDFatFS, SDPath, 1);
  DSTATUS ds = disk_status(0);

  if ((res == FR_OK) && (ds == 0))
  {
      sprintf(msg, "MNT=OK SD=OK");
  }
  else
  {
      sprintf(msg, "MNT=%d DS=%u", res, ds);
  }
  OLED_BootSetLine(4, msg);
  HAL_Delay(1000);

  if (res != FR_OK)
  {
      SSD1306_Clear();
      sprintf(msg, "MFAIL D=%u", ds);
      SSD1306_WriteString(msg);
      SSD1306_UpdateScreen();
      while (1);
  }

  /* -------- FREE SPACE -------- */

  DWORD free_clusters;
  FATFS *fs;

  res = f_getfree(SDPath, &free_clusters, &fs);

  SSD1306_Clear();
  if (res == FR_OK)
  {
      DWORD free_sectors = free_clusters * fs->csize;

      uint32_t free_mb = free_sectors / 2048UL;

      sprintf(msg, "FREE=%luMB", free_mb);
  }
  else
  {
      sprintf(msg, "FREE FAIL");
  }

  OLED_BootSetLine(5, msg);
  HAL_Delay(1500);

  char base_status[OLED_CHARS_PER_ROW + 1];
  BaseConfigResult base_result = BaseConfig_LoadAndApply(base_status, sizeof(base_status));
  OLED_BootSetLine(5, base_status);
  HAL_Delay(1500);

  if ((base_result == BASE_CFG_RESULT_INVALID) ||
      (base_result == BASE_CFG_RESULT_APPLY_FAIL))
  {
      SSD1306_Clear();
      SSD1306_WriteString(base_status);
      SSD1306_UpdateScreen();
      while (1);
  }

  /* -------- OPEN FILE -------- */

  FIL log_file;
  UINT bw;
  char log_name[13];

  res = GNSS_OpenNextLogFile(&log_file, log_name, sizeof(log_name));

  if (res == FR_OK)
  {
      sprintf(msg, "OPEN=OK");
  }
  else
  {
      sprintf(msg, "OPEN=%d", res);
  }
  OLED_BootSetLine(6, msg);
  HAL_Delay(1000);

  if (res != FR_OK)
  {
      SSD1306_Clear();
      SSD1306_WriteString("OPEN FAIL");
      SSD1306_UpdateScreen();
      while (1);
  }

  OLED_BootSetLine(7, log_name);
  HAL_Delay(1000);

  res = f_sync(&log_file);

  if (res == FR_OK)
  {
      sprintf(msg, "OPEN=OK SYNC=OK");
  }
  else
  {
      sprintf(msg, "OPEN=OK SYNC=%d", res);
  }
  OLED_BootSetLine(6, msg);
  HAL_Delay(1000);

  if (res != FR_OK)
  {
      SSD1306_Clear();
      SSD1306_WriteString("SYNC FAIL");
      SSD1306_UpdateScreen();
      f_close(&log_file);
      while (1);
  }

  uart_dma_wrap_count = 0;
  overflow_counter = 0;
  log_bytes_written = 0;
  old_pos = 0;

  if (HAL_UART_Receive_DMA(&huart1, ubx_buf, UBX_BUF_SIZE) != HAL_OK)
  {
      SSD1306_Clear();
      SSD1306_WriteString("UART DMA FAIL");
      SSD1306_UpdateScreen();
      f_close(&log_file);
      while (1);
  }
  log_start_tick = HAL_GetTick();
  OLED_BootSetLine(1, "UART RX OK");
  HAL_Delay(500);

  /* -------- DONE -------- */

  sprintf(msg, "%s READY", log_name);
  OLED_BootSetLine(7, msg);
  HAL_Delay(1000);

  /* USER CODE END 2 */

  ///////////////////////* Infinite loop *//////////////////////////

  old_pos = 0;

  while (1)
  {
      if (hUsbDeviceFS.dev_state == USBD_STATE_CONFIGURED)
      {
          uint32_t final_write_abs = GNSS_DMA_GetWriteAbs();
          HAL_UART_DMAStop(&huart1);

          res = GNSS_FlushToLog(&log_file, final_write_abs);
          if (res == FR_OK)
          {
              res = f_sync(&log_file);
          }
          if (res == FR_OK)
          {
              res = f_close(&log_file);
          }
          if (res == FR_OK)
          {
              res = f_mount(NULL, SDPath, 0);
          }

          if (res != FR_OK)
          {
              SSD1306_Clear();
              snprintf(msg, sizeof(msg), "USB PREP ERR=%d", res);
              SSD1306_WriteString(msg);
              SSD1306_UpdateScreen();
              while (1);
          }

          /* Reconfigure through HAL while neither FatFS nor USB is using SD. */
          (void)SD_SetTransferClock(8);
          USB_Storage_SetReady(1);

          SSD1306_Clear();
          SSD1306_SetCursor(0, 0);
          SSD1306_WriteString("USB STORAGE ACTIVE");
          SSD1306_SetCursor(0, 2);
          SSD1306_WriteString("SD CARD ON PC");
          SSD1306_SetCursor(0, 4);
          SSD1306_WriteString("LOGGING STOPPED");
          SSD1306_SetCursor(0, 6);
          SSD1306_WriteString("EJECT BEFORE UNPLUG");
          SSD1306_UpdateScreen();

          /* USB owns the SD card until reset. This avoids treating selective
             suspend as a physical disconnect and remounting behind the host. */
          while (1)
          {
              uint32_t usb_blocks;
              uint32_t usb_errors;
              uint32_t usb_verify_errors;

              USB_Storage_GetWriteStats(&usb_blocks, &usb_errors,
                                        &usb_verify_errors);
              if ((usb_errors != 0U) || (usb_verify_errors != 0U))
              {
                  SSD1306_SetCursor(0, 2);
                  SSD1306_WriteString("USB WRITE ERROR ");
                  SSD1306_SetCursor(0, 4);
                  snprintf(msg, sizeof(msg), "ERR=%lu VERIFY=%lu ",
                           usb_errors, usb_verify_errors);
                  SSD1306_WriteString(msg);
              }
              else
              {
                  SSD1306_SetCursor(0, 2);
                  SSD1306_WriteString("SD CARD ON PC   ");
                  SSD1306_SetCursor(0, 4);
                  SSD1306_WriteString((usb_blocks != 0U) ?
                                      "WRITES VERIFIED " :
                                      "READY FOR FILES ");
              }
              SSD1306_UpdateScreen();
              HAL_Delay(500);
          }
      }

      uint32_t write_abs = GNSS_DMA_GetWriteAbs();
      uint32_t available = write_abs - old_pos;

      if (available > UBX_BUF_SIZE)
      {
          overflow_counter++;
          old_pos = write_abs;
          SSD1306_Clear();
          sprintf(msg, "OVR=%lu", overflow_counter);
          SSD1306_WriteString(msg);
          SSD1306_UpdateScreen();
          continue;
      }

      while (available > 0)
      {
          uint32_t read_pos = old_pos % UBX_BUF_SIZE;
          uint32_t chunk = UBX_BUF_SIZE - read_pos;

          if (chunk > available)
          {
              chunk = available;
          }

          GNSS_ParseBytes(&ubx_buf[read_pos], chunk);
          res = f_write(&log_file, &ubx_buf[read_pos], chunk, &bw);

          if ((res != FR_OK) || (bw != chunk))
          {
              SSD1306_Clear();
              sprintf(msg, "LOG ERR=%d", res);
              SSD1306_WriteString(msg);
              SSD1306_UpdateScreen();
              f_close(&log_file);
              while (1);
          }

          old_pos += bw;
          log_bytes_written += bw;
          write_abs = GNSS_DMA_GetWriteAbs();
          available = write_abs - old_pos;

          if (available > UBX_BUF_SIZE)
          {
              overflow_counter++;
              old_pos = write_abs;
              break;
          }
      }

      static uint32_t last_sync = 0;
      if (HAL_GetTick() - last_sync > 5000)
      {
          res = f_sync(&log_file);
          last_sync = HAL_GetTick();

          if (res != FR_OK)
          {
              SSD1306_Clear();
              sprintf(msg, "SYNC ERR=%d", res);
              SSD1306_WriteString(msg);
              SSD1306_UpdateScreen();
              f_close(&log_file);
              while (1);
          }
      }

      static uint32_t last_oled = 0;
      if (HAL_GetTick() - last_oled > 1000)
      {
          static uint8_t spinner_index = 0;
          const char spinner[] = ".-*+";

          SSD1306_Clear();
          SSD1306_SetCursor(0, 0);
          sprintf(msg, "SD WRITE %luKB %s",
                  log_bytes_written / 1024UL,
                  (overflow_counter == 0) ? "OK" : "BAD");
          SSD1306_WriteString(msg);
          if ((overflow_counter > 0) && ((spinner_index & 0x01) == 0))
          {
              SSD1306_SetCursor(0, 1);
              SSD1306_WriteString("WARNING OVERRUN");
          }
          else if (((gnss_last_packet_tick == 0) ||
                    ((HAL_GetTick() - gnss_last_packet_tick) > 3000)) &&
                   ((spinner_index & 0x01) == 0))
          {
              SSD1306_SetCursor(0, 1);
              SSD1306_WriteString("NO GNSS DATA");
          }
          SSD1306_SetCursor(0, 2);
          SSD1306_WriteString(log_name);
          SSD1306_SetCursor(0, 4);
          uint32_t elapsed = (HAL_GetTick() - log_start_tick) / 1000UL;
          sprintf(msg, "LOGGING %c%c %02lu:%02lu",
                  spinner[spinner_index],
                  spinner[spinner_index],
                  elapsed / 60UL,
                  elapsed % 60UL);
          SSD1306_WriteString(msg);
          SSD1306_SetCursor(0, 6);
          if (GNSS_SvinLabel()[0] != '\0' && gnss_svin_valid)
          {
              snprintf(msg, sizeof(msg), "SAT=%u %s",
                       gnss_sat_count, GNSS_SvinLabel());
              SSD1306_WriteString(msg);
          }
          else if (GNSS_SvinLabel()[0] == '\0')
          {
              snprintf(msg, sizeof(msg), "SAT=%u", gnss_sat_count);
              SSD1306_WriteString(msg);
          }
          else if ((spinner_index & 0x01) == 0)
          {
              snprintf(msg, sizeof(msg), "SAT=%u %s",
                       gnss_sat_count, GNSS_SvinLabel());
              SSD1306_WriteString(msg);
          }
          else
          {
              snprintf(msg, sizeof(msg), "SAT=%u", gnss_sat_count);
              SSD1306_WriteString(msg);
          }
          SSD1306_SetCursor(0, 7);
          if (GNSS_FixIsPpkOk() || ((spinner_index & 0x01) == 0))
          {
              SSD1306_WriteString(GNSS_FixLabel());
          }
          if (gnss_time_valid)
          {
              sprintf(msg, "UTC=%02u:%02u:%02u", gnss_hour, gnss_min, gnss_sec);
          }
          else
          {
              sprintf(msg, "UTC=--:--:--");
          }
          SSD1306_SetCursor(SSD1306_WIDTH - (strlen(msg) * 6), 7);
          SSD1306_WriteString(msg);
          SSD1306_UpdateScreen();
          spinner_index = (spinner_index + 1) % 4;
          last_oled = HAL_GetTick();
      }
  }
}

void SystemClock_Config(void)
{
  RCC_OscInitTypeDef RCC_OscInitStruct = {0};
  RCC_ClkInitTypeDef RCC_ClkInitStruct = {0};

  /** Configure the main internal regulator output voltage
  */
  __HAL_RCC_PWR_CLK_ENABLE();
  __HAL_PWR_VOLTAGESCALING_CONFIG(PWR_REGULATOR_VOLTAGE_SCALE1);

  /** Initializes the RCC Oscillators according to the specified parameters
  * in the RCC_OscInitTypeDef structure.
  */
  RCC_OscInitStruct.OscillatorType = RCC_OSCILLATORTYPE_HSI;
  RCC_OscInitStruct.HSIState = RCC_HSI_ON;
  RCC_OscInitStruct.HSICalibrationValue = RCC_HSICALIBRATION_DEFAULT;
  RCC_OscInitStruct.PLL.PLLState = RCC_PLL_ON;
  RCC_OscInitStruct.PLL.PLLSource = RCC_PLLSOURCE_HSI;
  RCC_OscInitStruct.PLL.PLLM = 16;
  RCC_OscInitStruct.PLL.PLLN = 336;
  RCC_OscInitStruct.PLL.PLLP = RCC_PLLP_DIV4;
  RCC_OscInitStruct.PLL.PLLQ = 7;
  if (HAL_RCC_OscConfig(&RCC_OscInitStruct) != HAL_OK)
  {
    Error_Handler();
  }

  /** Initializes the CPU, AHB and APB buses clocks
  */
  RCC_ClkInitStruct.ClockType = RCC_CLOCKTYPE_HCLK|RCC_CLOCKTYPE_SYSCLK
                              |RCC_CLOCKTYPE_PCLK1|RCC_CLOCKTYPE_PCLK2;
  RCC_ClkInitStruct.SYSCLKSource = RCC_SYSCLKSOURCE_PLLCLK;
  RCC_ClkInitStruct.AHBCLKDivider = RCC_SYSCLK_DIV1;
  RCC_ClkInitStruct.APB1CLKDivider = RCC_HCLK_DIV2;
  RCC_ClkInitStruct.APB2CLKDivider = RCC_HCLK_DIV1;

  if (HAL_RCC_ClockConfig(&RCC_ClkInitStruct, FLASH_LATENCY_2) != HAL_OK)
  {
    Error_Handler();
  }
}

static void MX_DMA_Init(void)
{

  /* DMA controller clock enable */
  __HAL_RCC_DMA2_CLK_ENABLE();

  /* DMA interrupt init */
  /* DMA2_Stream2_IRQn interrupt configuration */
  HAL_NVIC_SetPriority(DMA2_Stream2_IRQn, 0, 0);
  HAL_NVIC_EnableIRQ(DMA2_Stream2_IRQn);
  /* DMA2_Stream3_IRQn interrupt configuration */
  HAL_NVIC_SetPriority(DMA2_Stream3_IRQn, 0, 0);
  HAL_NVIC_EnableIRQ(DMA2_Stream3_IRQn);
  /* DMA2_Stream6_IRQn interrupt configuration */
  HAL_NVIC_SetPriority(DMA2_Stream6_IRQn, 0, 0);
  HAL_NVIC_EnableIRQ(DMA2_Stream6_IRQn);

}

static void MX_GPIO_Init(void)
{

  /* GPIO Ports Clock Enable */
  __HAL_RCC_GPIOC_CLK_ENABLE();
  __HAL_RCC_GPIOA_CLK_ENABLE();
  __HAL_RCC_GPIOE_CLK_ENABLE();
  __HAL_RCC_GPIOD_CLK_ENABLE();
  __HAL_RCC_GPIOB_CLK_ENABLE();
  __HAL_RCC_GPIOF_CLK_ENABLE();
  __HAL_RCC_GPIOG_CLK_ENABLE();

}

/* USER CODE BEGIN 4 */
void HAL_UART_RxCpltCallback(UART_HandleTypeDef *huart)
{
  if (huart->Instance == USART1)
  {
    uart_dma_wrap_count++;
  }
}

/* USER CODE END 4 */

void Error_Handler(void)
{
  __disable_irq();
  while (1)
  {
  }
}
